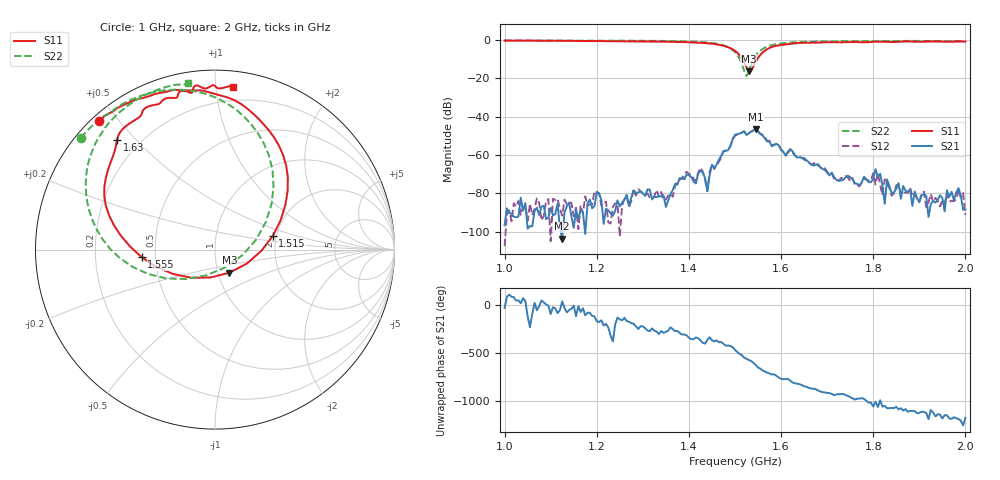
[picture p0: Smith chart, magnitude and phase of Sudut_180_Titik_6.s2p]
# Hz S RI R 50
! CMT, C1220, 16058040, 17.2.0/1
! Date: 14/08/2018 12:22:44
! Data: Format (Calibration Info)
! Freq  S11: Re/Im (F2)  S21: Re/Im (F2)  S12: Re/Im (F2)  S22: Re/Im (F2)
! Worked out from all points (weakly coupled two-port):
!   201 points, 1 GHz to 2 GHz, reference 50 ohm
!   highest |S21| = -46.64 dB at 1.545 GHz (marker M1); lowest = -103.7 dB at 1.125 GHz (marker M2)
!   lowest |S11| = -16.4 dB at 1.53 GHz (marker M3), VSWR 1.36, Z = 56.7 - j14.9 ohm
!   |S11| at or under -10 dB: 1.516 GHz to 1.548 GHz (32.48 MHz wide, 2.12 % of centre)
!   |S22| runs from -18.8 to -0.2 dB; largest |S21 - S12| = 0.00033
!   S11 on the Smith chart (normalised r, x): 1 GHz: 0.02, +0.44; 1.515 GHz: 1.91, +0.33; 1.555 GHz: 0.42, -0.04; 1.63 GHz: 0.12, +0.44; 2 GHz: 0.10, +1.11
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1e9  -0.6454 0.7156  1.27e-05 -7.46e-06  -3.36e-06 -2.5e-06  -0.748 0.6242
1.125e9  -0.5168 0.8022  5.21e-06 3.98e-06  2.62e-05 1.77e-06  -0.654 0.7162
1.17e9  -0.4683 0.8236  2.62e-05 -1.82e-05  1.98e-05 2.23e-05  -0.6113 0.7487
1.335e9  -0.2021 0.8884  4.69e-05 7.21e-05  1.27e-05 8.1e-05  -0.3962 0.8621
1.425e9  0.0833 0.8428  0.00038 -5.6e-05  0.000456 -0.000103  -0.1156 0.8825
1.44e9  0.1425 0.8126  0.000113 -1.05e-05  0.000114 -2.39e-06  -0.0367 0.8625
1.45e9  0.1855 0.7809  0.00055 -8.01e-05  0.000561 -0.000102  0.025 0.8367
1.5e9  0.4048 0.3297  -0.00108 -0.00322  -0.000978 -0.00303  0.3261 0.3516
1.515e9  0.3218 0.0759  -0.00371 -0.00105  -0.00371 -0.00116  0.2299 0.0565
1.53e9  0.0806 -0.1287  -0.00308 0.00199  -0.00311 0.00206  -0.0505 -0.1439
1.545e9  -0.2331 -0.1359  -0.000297 0.00464  -0.000397 0.00461  -0.3718 -0.1361
1.555e9  -0.4073 -0.0432  0.002 0.00289  0.00195 0.00304  -0.5275 -0.0496
1.63e9  -0.5454 0.6133  -0.000132 -0.001  -8.35e-05 -0.000956  -0.686 0.5439
1.67e9  -0.4271 0.7339  -0.000477 -0.00024  -0.000515 -0.000272  -0.6174 0.6713
1.77e9  -0.2345 0.8453  -3.58e-05 0.000161  -5.49e-05 0.000141  -0.4618 0.819
1.8e9  -0.2017 0.874  0.000221 8.4e-05  0.000308 0.000125  -0.4181 0.8452
1.805e9  -0.1958 0.8815  0.000145 0.000405  5.09e-05 0.000162  -0.4112 0.8494
1.81e9  -0.1876 0.8859  0.000264 7.07e-05  0.000184 0.00028  -0.4047 0.853
1.82e9  -0.1669 0.8852  0.000155 5.3e-05  8.81e-05 -1.64e-05  -0.3907 0.8596
1.825e9  -0.1551 0.8814  4.78e-05 2.42e-05  2.02e-05 0.000232  -0.3845 0.863
1.835e9  -0.1361 0.8732  0.000154 5.87e-06  -5.41e-07 0.000139  -0.3712 0.8698
2e9  0.0977 0.906  -4.6e-06 -3.75e-05  -2.52e-05 -1.05e-05  -0.1487 0.9279
